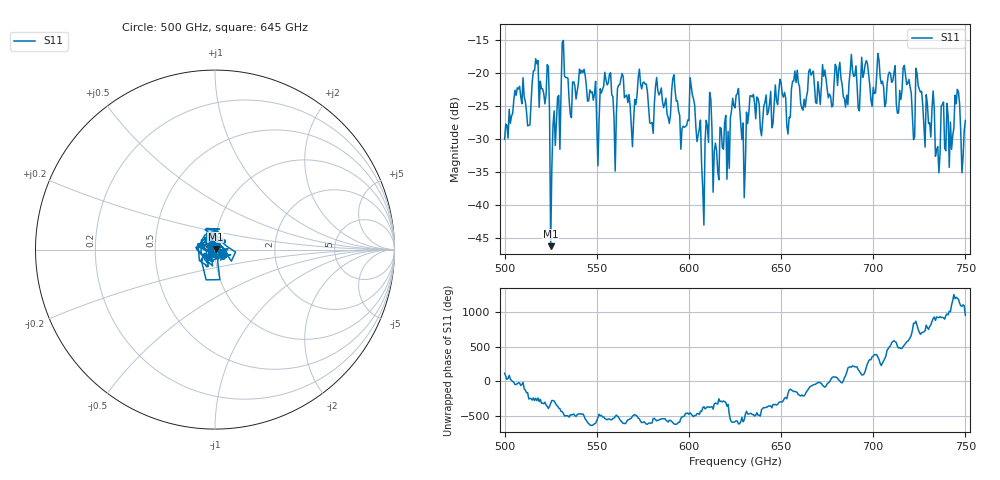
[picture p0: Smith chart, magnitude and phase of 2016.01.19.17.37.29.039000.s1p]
!Created with skrf (http://scikit-rf.org).
# GHz S RI R 50.0
!freq ReS11 ImS11
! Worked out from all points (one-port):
!   401 points, 500 GHz to 750 GHz, reference 50 ohm
!   lowest |S11| = -46.2 dB at 525 GHz (marker M1), VSWR 1.01, Z = 50.4 + j0.312 ohm
!   |S11| at or under -10 dB: start of sweep to end of sweep
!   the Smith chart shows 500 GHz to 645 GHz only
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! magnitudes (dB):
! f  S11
! 500 GHz  -30.1
! 506.9 GHz  -22.3
! 513.1 GHz  -28.0
! 516.9 GHz  -17.9
! 523.1 GHz  -18.8
! 525 GHz  -46.2
! 531.2 GHz  -15.4
! 541.9 GHz  -19.6
! 551.2 GHz  -27.2
! 562.5 GHz  -21.8
! 569.4 GHz  -31.2
! 573.8 GHz  -21.6
! 579.4 GHz  -27.7
! 593.8 GHz  -24.2
! 596.9 GHz  -28.1
! 601.9 GHz  -23.3
! 608.1 GHz  -43.0
! 610.6 GHz  -30.5
! 614.4 GHz  -30.6
! 625 GHz  -25.3
! 629.4 GHz  -27.6
! 634.4 GHz  -23.6
! 656.2 GHz  -21.3
! 687.5 GHz  -19.8
! 718.8 GHz  -21.6
! 735 GHz  -31.2
! 745.6 GHz  -22.5
! 750 GHz  -27.2
